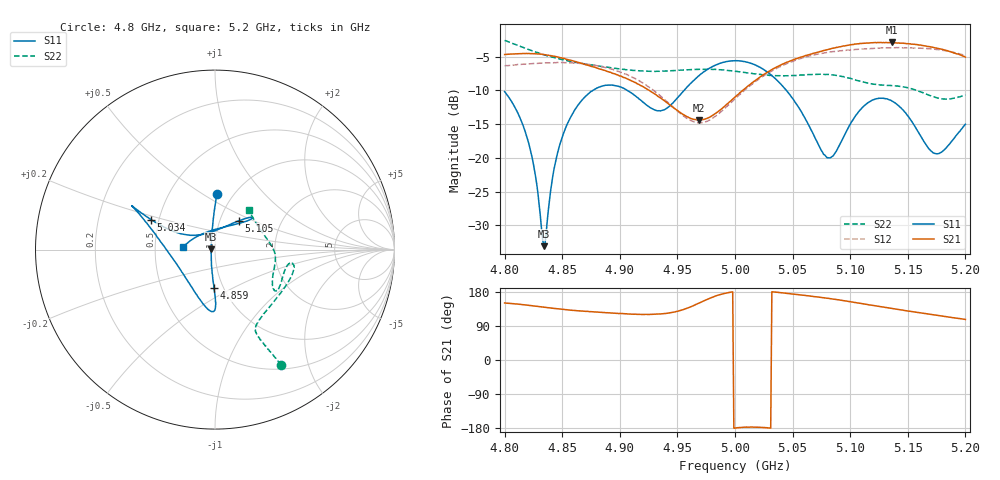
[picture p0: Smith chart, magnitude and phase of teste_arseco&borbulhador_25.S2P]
! Network Analyzer HP8722D
! Hewlett-Packard
! Data name: Linha & Wilkinson
! Saver's name: Rodrigo Anjos
! Comments: Teste da utilização de aquisição
! continua pelo VNA HP8722D
! Time and date: 15/4/2025 15:50
!  Frequency  S11  S21  S12  S22
# HZ  S  MA R 50
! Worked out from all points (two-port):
!   401 points, 4.8 GHz to 5.2 GHz, reference 50 ohm
!   highest |S21| = -2.90 dB at 5.136 GHz (marker M1); lowest = -14.4 dB at 4.969 GHz (marker M2)
!   |S21| within 3 dB of the highest: start of sweep to 4.865 GHz; 5.044 GHz to end of sweep
!   lowest |S11| = -33.1 dB at 4.834 GHz (marker M3), VSWR 1.05, Z = 47.8 + j0.25 ohm
!   |S11| at or under -10 dB: start of sweep to 4.877 GHz; 4.906 GHz to 4.956 GHz (49.48 MHz wide, 1 % of centre); 5.045 GHz to end of sweep
!   |S22| runs from -11.3 to -2.6 dB; largest |S21 - S12| = 1.3
!   S11 on the Smith chart (normalised r, x): 4.8 GHz: 0.84, +0.57; 4.859 GHz: 0.90, -0.40; 5.034 GHz: 0.45, +0.18; 5.105 GHz: 1.23, +0.41; 5.2 GHz: 0.70, +0.02
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4.8e9  0.3091 88.2  0.582 150.5  0.4806 -111.6  0.7398 -60.1
4.812e9  0.2098 91.4  0.5905 147.2  0.4903 -111.2  0.6773 -61.1
4.821e9  0.1277 96.5  0.593 144.3  0.4962 -110.6  0.6331 -61.8
4.827e9  0.07157 105.6  0.5886 142.2  0.4989 -110.0  0.6064 -62.2
4.834e9  0.02216 173.2  0.5824 139.5  0.5034 -109.6  0.5793 -62.8
4.836e9  0.02719 -142.8  0.5776 138.8  0.5038 -109.2  0.5739 -63.0
4.845e9  0.1 -100.5  0.5609 135.5  0.5074 -108.9  0.5463 -63.4
4.859e9  0.2124 -91.6  0.5243 131.0  0.5047 -108.7  0.5153 -63.7
4.867e9  0.2665 -89.7  0.5005 129.2  0.4982 -108.8  0.5004 -63.3
4.895e9  0.3437 -93.8  0.42 123.7  0.4471 -111.6  0.4604 -57.1
4.934e9  0.2234 -146.0  0.2825 121.1  0.2937 -116.3  0.4374 -35.5
4.969e9  0.4072 158.8  0.1901 150.5  0.1821 -85.4  0.4524 -16.9
5e9  0.5245 152.2  0.2818 -179.5  0.2736 -49.8  0.4374 -10.0
5.034e9  0.3936 154.8  0.4596 179.4  0.4499 -43.4  0.4063 -15.4
5.067e9  0.1557 149.2  0.59 168.1  0.5745 -46.7  0.4138 -29.3
5.083e9  0.1002 101.8  0.6412 161.7  0.6087 -49.6  0.4122 -33.8
5.105e9  0.2067 50.6  0.6961 151.3  0.6352 -54.4  0.3764 -31.6
5.119e9  0.2673 42.5  0.7111 144.4  0.6445 -58.4  0.3528 -23.7
5.134e9  0.2686 40.0  0.7141 137.1  0.6528 -63.4  0.3433 -12.6
5.136e9  0.2643 40.1  0.7159 136.0  0.6521 -64.1  0.3424 -11.1
5.174e9  0.1074 104.5  0.6516 118.6  0.636 -77.5  0.2801 20.1
5.2e9  0.1773 174.5  0.5565 107.0  0.5699 -86.2  0.2914 49.9
